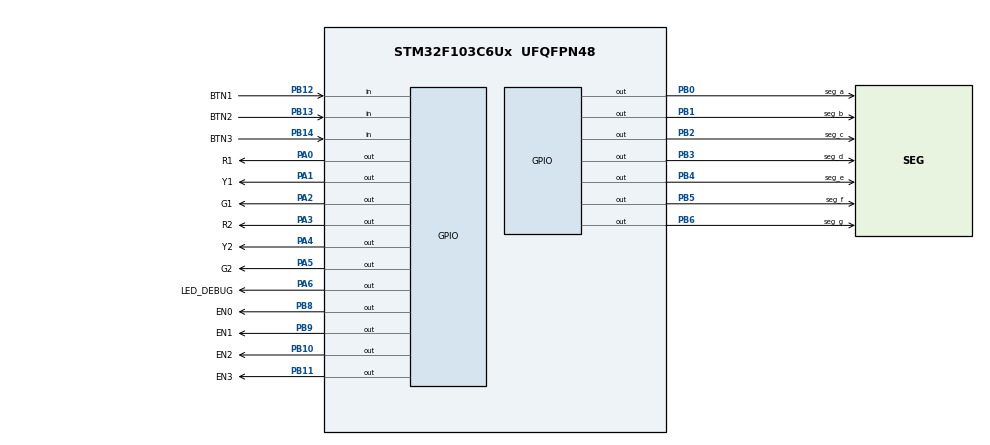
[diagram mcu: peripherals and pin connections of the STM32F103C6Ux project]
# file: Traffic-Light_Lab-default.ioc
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Mcu.Family=STM32F1
Mcu.Name=STM32F103C6Ux
Mcu.Package=UFQFPN48
NVIC.PriorityGroup=NVIC_PRIORITYGROUP_4
NVIC.TIM2_IRQn=true\:0\:0\:false\:false\:true\:true\:true
PA0-WKUP.GPIO_Label=R1
PA0-WKUP.Signal=GPIO_Output
PA1.GPIO_Label=Y1
PA1.Signal=GPIO_Output
PA2.GPIO_Label=G1
PA2.Signal=GPIO_Output
PA3.GPIO_Label=R2
PA3.Signal=GPIO_Output
PA4.GPIO_Label=Y2
PA4.Signal=GPIO_Output
PA5.GPIO_Label=G2
PA5.Signal=GPIO_Output
PA6.GPIO_Label=LED_DEBUG
PA6.Signal=GPIO_Output
PB0.GPIO_Label=seg_a
PB0.Signal=GPIO_Output
PB1.GPIO_Label=seg_b
PB1.Signal=GPIO_Output
PB10.GPIO_Label=EN2
PB10.Signal=GPIO_Output
PB11.GPIO_Label=EN3
PB11.Signal=GPIO_Output
PB12.GPIO_Label=BTN1
PB12.GPIO_PuPd=GPIO_PULLUP
PB12.Signal=GPIO_Input
PB13.GPIO_Label=BTN2
PB13.GPIO_PuPd=GPIO_PULLUP
PB13.Signal=GPIO_Input
PB14.GPIO_Label=BTN3
PB14.GPIO_PuPd=GPIO_PULLUP
PB14.Signal=GPIO_Input
PB2.GPIO_Label=seg_c
PB2.Signal=GPIO_Output
PB3.GPIO_Label=seg_d
PB3.Signal=GPIO_Output
PB4.GPIO_Label=seg_e
PB4.Signal=GPIO_Output
PB5.GPIO_Label=seg_f
PB5.Signal=GPIO_Output
PB6.GPIO_Label=seg_g
PB6.Signal=GPIO_Output
PB8.GPIO_Label=EN0
PB8.Signal=GPIO_Output
PB9.GPIO_Label=EN1
PB9.Signal=GPIO_Output
ProjectManager.HeapSize=0x200
ProjectManager.StackSize=0x400
ProjectManager.TargetToolchain=STM32CubeIDE
RCC.APB1Freq_Value=8000000
RCC.APB2Freq_Value=8000000
TIM2.Period=9
TIM2.Prescaler=7999
VP_SYS_VS_ND.Mode=No_Debug
VP_TIM2_VS_ClockSourceINT.Mode=Internal
board=custom

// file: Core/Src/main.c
/* USER CODE BEGIN Header */
/**
  ******************************************************************************
  * @file           : main.c
  * @brief          : Main program body
  ******************************************************************************
  * @attention
  *
  * <h2><center>&copy; Copyright (c) 2026 STMicroelectronics.
  * All rights reserved.</center></h2>
  *
  * This software component is licensed by ST under BSD 3-Clause license,
  * the "License"; You may not use this file except in compliance with the
  * License. You may obtain a copy of the License at:
  *                        opensource.org/licenses/BSD-3-Clause
  *
  ******************************************************************************
  */
/* USER CODE END Header */
#include "main.h"

/* USER CODE BEGIN Includes */
#include "timer.h"
#include "led_display.h"
#include "input_processing.h"
/* USER CODE END Includes */

/* USER CODE BEGIN PD */
// Chu ky quet 1 LED 7 doan (ms). Proteus: 10ms la vua; phan cung that nen <= 5ms
#define SCAN_PERIOD	10
#define DEBUG_PERIOD	1000	// LED debug nhay 1Hz: dau hieu chip con chay
/* USER CODE END PD */

TIM_HandleTypeDef htim2;

void SystemClock_Config(void);
static void MX_GPIO_Init(void);
static void MX_TIM2_Init(void);

int main(void)
{

  /* MCU Configuration--------------------------------------------------------*/

  /* Reset of all peripherals, Initializes the Flash interface and the Systick. */
  HAL_Init();

  /* Configure the system clock */
  SystemClock_Config();

  /* Initialize all configured peripherals */
  MX_GPIO_Init();
  MX_TIM2_Init();
  /* USER CODE BEGIN 2 */
  fsm_init();							// vao Mode 1
  setTimer(TIMER_SCAN, SCAN_PERIOD);
  setTimer(TIMER_DEBUG, DEBUG_PERIOD);
  HAL_TIM_Base_Start_IT(&htim2);		// TIM2: 7999/9 -> ngat moi 10ms (TIMER_CYCLE)
  /* USER CODE END 2 */

  /* Infinite loop */
  while (1)
  {

    /* USER CODE BEGIN 3 */
	  if (isTimerExpired(TIMER_SCAN)){
		  setTimer(TIMER_SCAN, SCAN_PERIOD);
		  led7_scan();
	  }
	  if (isTimerExpired(TIMER_DEBUG)){
		  setTimer(TIMER_DEBUG, DEBUG_PERIOD);
		  led_debug_toggle();
	  }
	  fsm_for_input_processing();
  }
  /* USER CODE END 3 */
}

void SystemClock_Config(void)
{
  RCC_OscInitTypeDef RCC_OscInitStruct = {0};
  RCC_ClkInitTypeDef RCC_ClkInitStruct = {0};

  /** Initializes the RCC Oscillators according to the specified parameters
  * in the RCC_OscInitTypeDef structure.
  */
  RCC_OscInitStruct.OscillatorType = RCC_OSCILLATORTYPE_HSI;
  RCC_OscInitStruct.HSIState = RCC_HSI_ON;
  RCC_OscInitStruct.HSICalibrationValue = RCC_HSICALIBRATION_DEFAULT;
  RCC_OscInitStruct.PLL.PLLState = RCC_PLL_NONE;
  if (HAL_RCC_OscConfig(&RCC_OscInitStruct) != HAL_OK)
  {
    Error_Handler();
  }
  /** Initializes the CPU, AHB and APB buses clocks
  */
  RCC_ClkInitStruct.ClockType = RCC_CLOCKTYPE_HCLK|RCC_CLOCKTYPE_SYSCLK
                              |RCC_CLOCKTYPE_PCLK1|RCC_CLOCKTYPE_PCLK2;
  RCC_ClkInitStruct.SYSCLKSource = RCC_SYSCLKSOURCE_HSI;
  RCC_ClkInitStruct.AHBCLKDivider = RCC_SYSCLK_DIV1;
  RCC_ClkInitStruct.APB1CLKDivider = RCC_HCLK_DIV1;
  RCC_ClkInitStruct.APB2CLKDivider = RCC_HCLK_DIV1;

  if (HAL_RCC_ClockConfig(&RCC_ClkInitStruct, FLASH_LATENCY_0) != HAL_OK)
  {
    Error_Handler();
  }
}

static void MX_TIM2_Init(void)
{

  TIM_ClockConfigTypeDef sClockSourceConfig = {0};
  TIM_MasterConfigTypeDef sMasterConfig = {0};

  htim2.Instance = TIM2;
  htim2.Init.Prescaler = 7999;
  htim2.Init.CounterMode = TIM_COUNTERMODE_UP;
  htim2.Init.Period = 9;
  htim2.Init.ClockDivision = TIM_CLOCKDIVISION_DIV1;
  htim2.Init.AutoReloadPreload = TIM_AUTORELOAD_PRELOAD_DISABLE;
  if (HAL_TIM_Base_Init(&htim2) != HAL_OK)
  {
    Error_Handler();
  }
  sClockSourceConfig.ClockSource = TIM_CLOCKSOURCE_INTERNAL;
  if (HAL_TIM_ConfigClockSource(&htim2, &sClockSourceConfig) != HAL_OK)
  {
    Error_Handler();
  }
  sMasterConfig.MasterOutputTrigger = TIM_TRGO_RESET;
  sMasterConfig.MasterSlaveMode = TIM_MASTERSLAVEMODE_DISABLE;
  if (HAL_TIMEx_MasterConfigSynchronization(&htim2, &sMasterConfig) != HAL_OK)
  {
    Error_Handler();
  }

}

static void MX_GPIO_Init(void)
{
  GPIO_InitTypeDef GPIO_InitStruct = {0};

  /* GPIO Ports Clock Enable */
  __HAL_RCC_GPIOA_CLK_ENABLE();
  __HAL_RCC_GPIOB_CLK_ENABLE();

  /*Configure GPIO pin Output Level */
  HAL_GPIO_WritePin(GPIOA, R1_Pin|Y1_Pin|G1_Pin|R2_Pin
                          |Y2_Pin|G2_Pin|LED_DEBUG_Pin, GPIO_PIN_RESET);

  /*Configure GPIO pin Output Level */
  HAL_GPIO_WritePin(GPIOB, seg_a_Pin|seg_b_Pin|seg_c_Pin|EN2_Pin
                          |EN3_Pin|seg_d_Pin|seg_e_Pin|seg_f_Pin
                          |seg_g_Pin|EN0_Pin|EN1_Pin, GPIO_PIN_RESET);

  /*Configure GPIO pins : R1_Pin Y1_Pin G1_Pin R2_Pin
                           Y2_Pin G2_Pin LED_DEBUG_Pin */
  GPIO_InitStruct.Pin = R1_Pin|Y1_Pin|G1_Pin|R2_Pin
                          |Y2_Pin|G2_Pin|LED_DEBUG_Pin;
  GPIO_InitStruct.Mode = GPIO_MODE_OUTPUT_PP;
  GPIO_InitStruct.Pull = GPIO_NOPULL;
  GPIO_InitStruct.Speed = GPIO_SPEED_FREQ_LOW;
  HAL_GPIO_Init(GPIOA, &GPIO_InitStruct);

  /*Configure GPIO pins : seg_a_Pin seg_b_Pin seg_c_Pin EN2_Pin
                           EN3_Pin seg_d_Pin seg_e_Pin seg_f_Pin
                           seg_g_Pin EN0_Pin EN1_Pin */
  GPIO_InitStruct.Pin = seg_a_Pin|seg_b_Pin|seg_c_Pin|EN2_Pin
                          |EN3_Pin|seg_d_Pin|seg_e_Pin|seg_f_Pin
                          |seg_g_Pin|EN0_Pin|EN1_Pin;
  GPIO_InitStruct.Mode = GPIO_MODE_OUTPUT_PP;
  GPIO_InitStruct.Pull = GPIO_NOPULL;
  GPIO_InitStruct.Speed = GPIO_SPEED_FREQ_LOW;
  HAL_GPIO_Init(GPIOB, &GPIO_InitStruct);

  /*Configure GPIO pins : BTN1_Pin BTN2_Pin BTN3_Pin */
  GPIO_InitStruct.Pin = BTN1_Pin|BTN2_Pin|BTN3_Pin;
  GPIO_InitStruct.Mode = GPIO_MODE_INPUT;
  GPIO_InitStruct.Pull = GPIO_PULLUP;
  HAL_GPIO_Init(GPIOB, &GPIO_InitStruct);

}

/* USER CODE BEGIN 4 */
// HAL_TIM_PeriodElapsedCallback nam trong timer.c (theo Program 1.6 cua de)
/* USER CODE END 4 */

void Error_Handler(void)
{
  __disable_irq();
  while (1)
  {
  }
}

/************************ (C) COPYRIGHT STMicroelectronics *****END OF FILE****/
